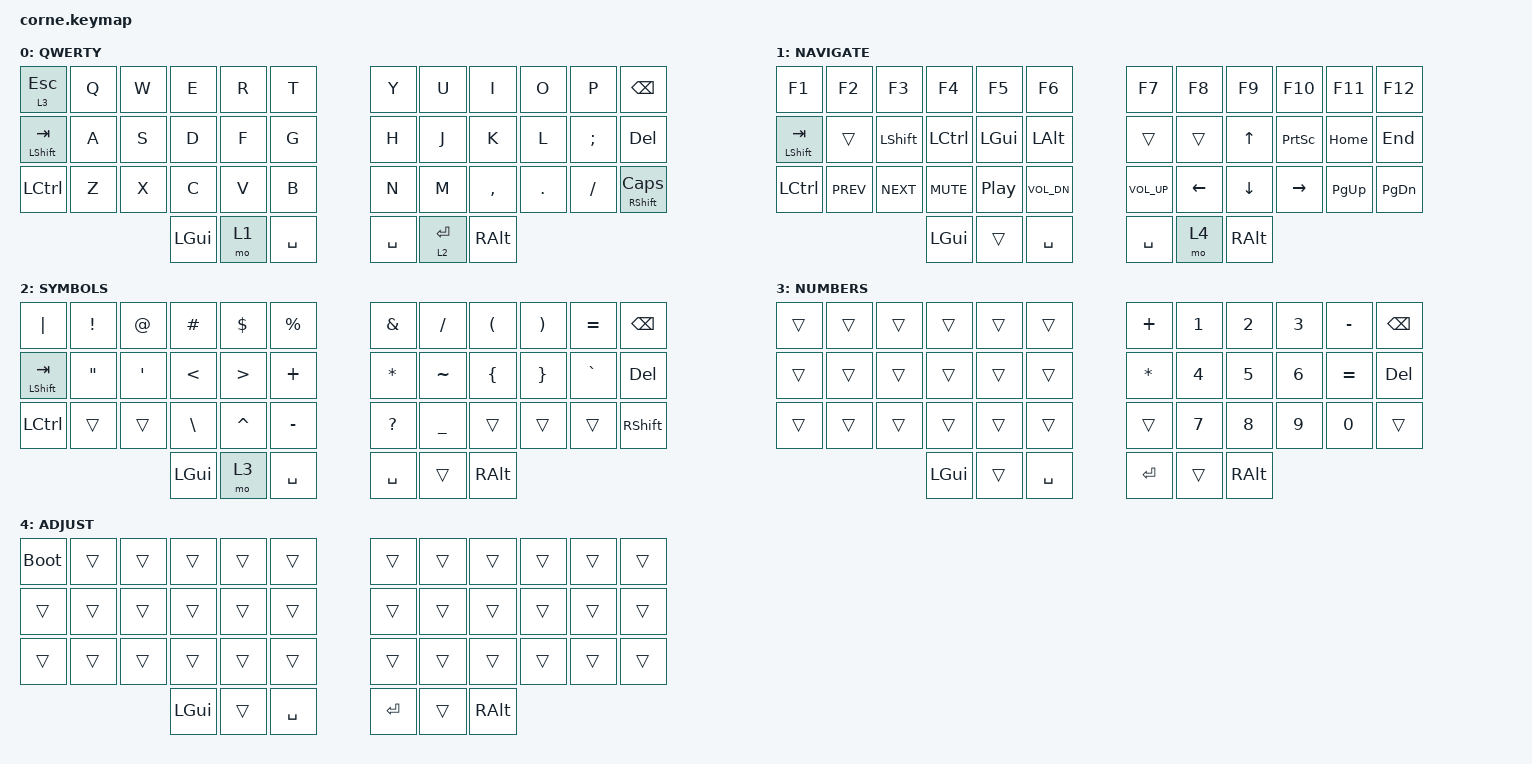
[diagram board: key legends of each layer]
/*
 * Copyright (c) 2020 The ZMK Contributors
 *
 * SPDX-License-Identifier: MIT
 */

#include <behaviors.dtsi>
#include <dt-bindings/zmk/bt.h>
#include <dt-bindings/zmk/ext_power.h>
#include <dt-bindings/zmk/keys.h>

/ {
    behaviors {
        mt: mod_tap {
            compatible = "zmk,behavior-hold-tap";
            label = "MOD_TAP";
            #binding-cells = <2>;
            tapping-term-ms = <200>;
            quick-tap-ms = <125>;
            flavor = "tap-preferred";
            bindings = <&kp>, <&kp>;
        };
    };

    macros {
    };

    keymap {
        compatible = "zmk,keymap";

        alpha {
            display-name = "QWERTY";

            // -----------------------------------------------------------------------------------------
            // | LT3 |  Q  |  W  |  E  |  R  |  T  |   |  Y  |  U   |  I  |  O  |  P  | BSPC |
            // |S+TAB|  A  |  S  |  D  |  F  |  G  |   |  H  |  J   |  K  |  L  |  ;  | DEL  |
            // | CTL |  Z  |  X  |  C  |  V  |  B  |   |  N  |  M   |  ,  |  .  |  /  |S+CAPS|
            //                    | GUI | MO1 | SPC |   | SPC |LT2ENT| ALT |

            bindings = <
&lt 3 ESCAPE   &kp Q    &kp W    &kp E       &kp R    &kp T        &kp Y    &kp U       &kp I       &kp O    &kp P        &kp BSPC
&mt LSHIFT TAB &kp A    &kp S    &kp D       &kp F    &kp G        &kp H    &kp J       &kp K       &kp L    &kp SCLN     &kp DEL
&kp LCTRL      &kp Z    &kp X    &kp C       &kp V    &kp B        &kp N    &kp M       &kp COMMA   &kp DOT  &kp SLASH    &mt RSHIFT CAPS
                                 &kp LGUI    &mo 1    &kp SPACE    &kp SPACE &lt 2 ENTER &kp RALT
            >;
        };

        navigate {
            display-name = "NAVIGATE";

            // -----------------------------------------------------------------------------------------
            // |  F1 |  F2 |  F3 |  F4 |  F5 |  F6 |   |  F7 |  F8  |  F9  | F10 | F11 | F12 |
            // |S+TAB|     |SHIFT|CTRL |GUI  |ALT  |   |BRID |BRIU  |  UP  |PSCR |HOME |END  |
            // | CTL |PREV |NEXT |MUTE |MPLY |VOL- |   |VOL+ | LEFT | DOWN |RIGHT|PGUP |PGDN |
            //                    | GUI | MO1 | SPC |   | SPC | MO4  | ALT  |

            bindings = <
&kp F1           &kp F2       &kp F3       &kp F4       &kp F5         &kp F6           &kp F7           &kp F8           &kp F9      &kp F10      &kp F11      &kp F12
&mt LSHIFT TAB   &trans       &kp LSHIFT   &kp LCTRL    &kp LGUI       &kp LALT         &trans           &trans           &kp UP      &kp PSCRN    &kp HOME     &kp END
&kp LCTRL        &kp C_PREV   &kp C_NEXT   &kp C_MUTE   &kp C_PLAY_PAUSE &kp C_VOL_DN   &kp C_VOL_UP     &kp LEFT         &kp DOWN    &kp RIGHT    &kp PAGE_UP  &kp PAGE_DOWN
                                           &kp LGUI     &trans         &kp SPACE       &kp SPACE        &mo 4            &kp RALT
            >;
        };

        symbols {
            display-name = "SYMBOLS";

            // -----------------------------------------------------------------------------------------
            // | | |  !  |  @  |  #  |  $  |  %  |   |  &  |  /  |  (  |  )  |  =  | BKSP |
            // |S+TAB| " |  ' |  <  |  >  |  +  |   |  *  |  ~  |  [  |  ]  |  `  | DEL  |
            // | CTL |    |    |  \  |  ^  |  -  |   |  ?  |  _  |     |     |     | RSFT |
            //                    | GUI | MO3 | SPC |   | SPC |TRANS| ALT |

            bindings = <
&kp PIPE         &kp EXCL      &kp AT        &kp HASH    &kp DOLLAR     &kp PERCENT        &kp AMPERSAND   &kp SLASH        &kp LPAR      &kp RPAR      &kp EQUAL       &kp BSPC
&mt LSHIFT TAB   &kp DQT       &kp SQT       &kp LESS_THAN &kp GREATER_THAN &kp PLUS        &kp ASTERISK    &kp TILDE        &kp LBRC      &kp RBRC      &kp GRAVE       &kp DEL
&kp LCTRL        &trans        &trans        &kp BACKSLASH &kp CARET    &kp MINUS          &kp QUESTION    &kp UNDER        &trans        &trans        &trans          &kp RSHIFT
                                             &kp LGUI    &mo 3          &kp SPACE          &kp SPACE       &trans           &kp RALT
            >;
        };

        numbers {
            display-name = "NUMBERS";

            // -----------------------------------------------------------------------------------------
            // |     |     |     |     |     |     |   |  +  |  1  |  2  |  3  |  -  | BKSP |
            // |     |     |     |     |     |     |   |  *  |  4  |  5  |  6  |  =  | DEL  |
            // |     |     |     |     |     |     |   |     |  7  |  8  |  9  |  0  |      |
            //                    | GUI |TRANS| SPC |   | ENT |TRANS| ALT |

            bindings = <
&trans  &trans  &trans  &trans  &trans  &trans       &kp PLUS      &kp N1  &kp N2  &kp N3  &kp MINUS &kp BSPC
&trans  &trans  &trans  &trans  &trans  &trans       &kp ASTERISK  &kp N4  &kp N5  &kp N6  &kp EQUAL &kp DEL
&trans  &trans  &trans  &trans  &trans  &trans       &trans        &kp N7  &kp N8  &kp N9  &kp N0    &trans
                        &kp LGUI &trans &kp SPACE    &kp ENTER     &trans  &kp RALT
            >;
        };

        adjust {
            display-name = "ADJUST";

            // -----------------------------------------------------------------------------------------
            // |BOOT |     |     |     |     |     |   |     |     |     |     |     |      |
            // |     |     |     |     |     |     |   |     |     |     |     |     |      |
            // |     |     |     |     |     |     |   |     |     |     |     |     |      |
            //                    | GUI |TRANS| SPC |   | ENT |TRANS| ALT |

            bindings = <
&bootloader  &trans  &trans  &trans  &trans  &trans       &trans      &trans  &trans  &trans  &trans  &trans
&trans       &trans  &trans  &trans  &trans  &trans       &trans      &trans  &trans  &trans  &trans  &trans
&trans       &trans  &trans  &trans  &trans  &trans       &trans      &trans  &trans  &trans  &trans  &trans
                             &kp LGUI &trans &kp SPACE    &kp ENTER   &trans  &kp RALT
            >;
        };

    };
};
